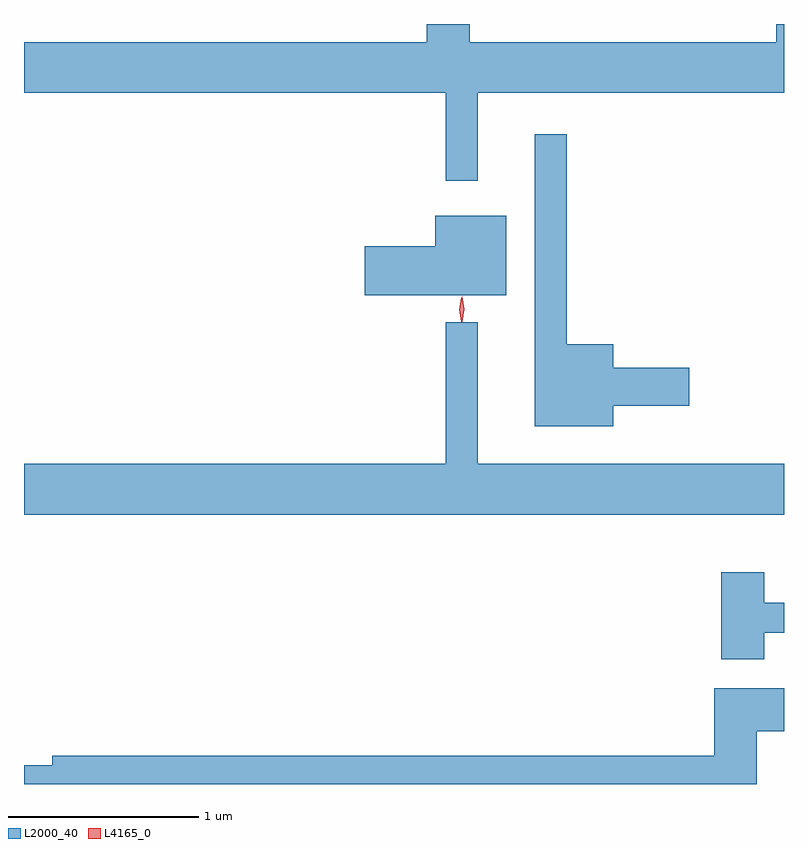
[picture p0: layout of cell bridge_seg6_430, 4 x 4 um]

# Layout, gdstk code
import gdstk
lib = gdstk.Library(unit=1e-6, precision=1e-09)
def P(c, l, *ps):  # polygons
    for p in ps: c.add(gdstk.Polygon(p, *l))
L2000_40 = (2000, 40)
L4165_0 = (4165, 0)

bridge_seg6_430 = lib.new_cell('bridge_seg6_430')
P(bridge_seg6_430, L2000_40, [(618.079,1663.256),(619.692,1663.256),(619.692,1663.619),(619.651,1663.619),(619.651,1663.524),(618.039,1663.524),(618.039,1663.619),(617.811,1663.619),(617.811,1663.524),(615.692,1663.524),(615.692,1663.256),(617.911,1663.256),(617.911,1662.793),(618.079,1662.793)],
  [(618.794,1661.611),(619.194,1661.611),(619.194,1661.809),(618.794,1661.809),(618.794,1661.934),(618.549,1661.934),(618.549,1663.038),(618.381,1663.038),(618.381,1661.501),(618.794,1661.501)],
  [(618.229,1662.609),(617.856,1662.609),(617.856,1662.449),(617.486,1662.449),(617.486,1662.191),(618.229,1662.191)],
  [(619.692,1661.304),(618.079,1661.304),(618.079,1662.048),(617.911,1662.048),(617.911,1661.304),(615.692,1661.304),(615.692,1661.036),(619.692,1661.036)],
  [(619.589,1660.416),(619.692,1660.416),(619.692,1660.574),(619.589,1660.574),(619.589,1660.734),(619.361,1660.734),(619.361,1660.276),(619.589,1660.276)],
  [(619.549,1659.896),(619.692,1659.896),(619.692,1660.124),(619.326,1660.124),(619.326,1659.769),(615.841,1659.769),(615.841,1659.719),(615.692,1659.719),(615.692,1659.619),(619.549,1659.619)])
P(bridge_seg6_430, L4165_0, [(617.992,1662.053),(617.992,1662.053),(617.982,1662.116),(617.992,1662.179),(617.992,1662.18),(617.993,1662.179),(618.002,1662.116),(617.993,1662.053)],
  [(617.996,1662.05),(617.988,1662.118),(617.998,1662.186),(617.998,1662.186),(617.999,1662.186),(618.008,1662.118),(617.998,1662.05),(617.997,1662.05)])

lib.write_gds('bridge_seg6_430.gds')
